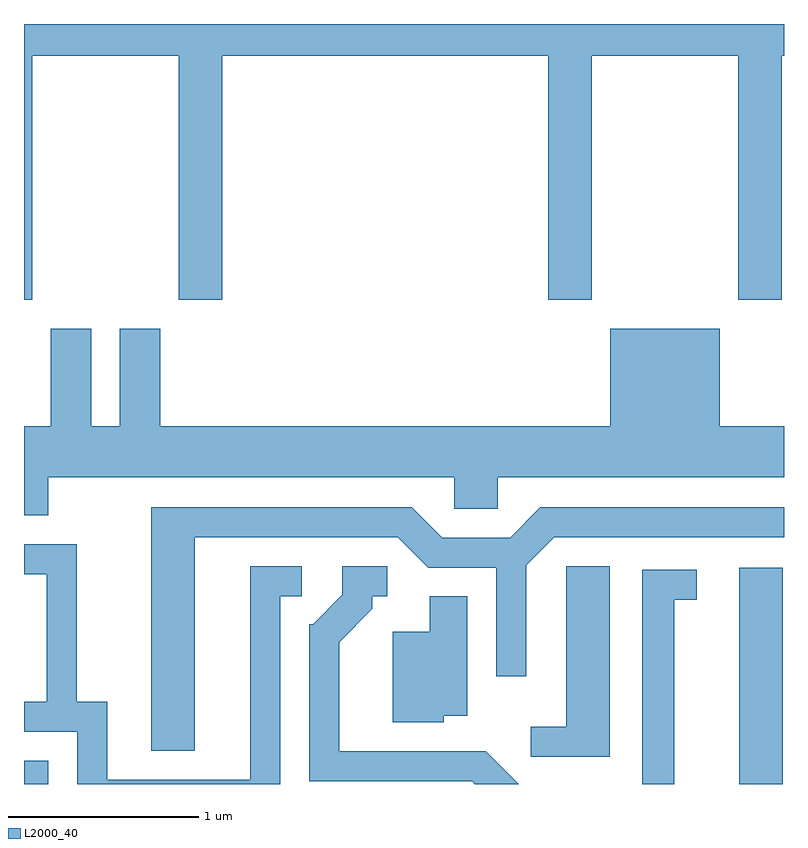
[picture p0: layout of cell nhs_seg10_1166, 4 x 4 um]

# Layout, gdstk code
import gdstk
lib = gdstk.Library(unit=1e-6, precision=1e-09)
def R(c, l, rs):  # rectangles x0, y0, x1, y1
    for r in rs: c.add(gdstk.rectangle(r[:2], r[2:], *l))
def P(c, l, *ps):  # polygons
    for p in ps: c.add(gdstk.Polygon(p, *l))
L2000_40 = (2000, 40)

nhs_seg10_1166 = lib.new_cell('nhs_seg10_1166')
R(nhs_seg10_1166, L2000_40, [(219.611,2114.522,219.739,2114.644), (223.376,2114.522,223.604,2115.659)])
P(nhs_seg10_1166, L2000_40, [(219.654,2118.356),(220.426,2118.356),(220.426,2117.071),(220.654,2117.071),(220.654,2118.356),(222.371,2118.356),(222.371,2117.071),(222.599,2117.071),(222.599,2118.356),(223.371,2118.356),(223.371,2117.071),(223.599,2117.071),(223.599,2118.356),(223.611,2118.356),(223.611,2118.522),(219.611,2118.522),(219.611,2117.071),(219.654,2117.071)],
  [(219.739,2116.136),(221.876,2116.136),(221.876,2115.971),(222.104,2115.971),(222.104,2116.136),(223.611,2116.136),(223.611,2116.404),(223.274,2116.404),(223.274,2116.919),(222.696,2116.919),(222.696,2116.404),(220.329,2116.404),(220.329,2116.919),(220.116,2116.919),(220.116,2116.404),(219.964,2116.404),(219.964,2116.919),(219.751,2116.919),(219.751,2116.404),(219.611,2116.404),(219.611,2115.936),(219.739,2115.936)],
  [(220.509,2115.821),(221.579,2115.821),(221.739,2115.661),(222.096,2115.661),(222.096,2115.088),(222.254,2115.088),(222.254,2115.674),(222.402,2115.821),(223.611,2115.821),(223.611,2115.979),(222.329,2115.979),(222.169,2115.819),(221.812,2115.819),(221.652,2115.979),(220.281,2115.979),(220.281,2114.696),(220.509,2114.696)],
  [(220.959,2115.511),(221.073,2115.511),(221.073,2115.669),(220.801,2115.669),(220.801,2114.544),(220.049,2114.544),(220.049,2114.954),(219.889,2114.954),(219.889,2115.784),(219.611,2115.784),(219.611,2115.626),(219.731,2115.626),(219.731,2114.954),(219.611,2114.954),(219.611,2114.796),(219.891,2114.796),(219.891,2114.522),(220.959,2114.522)],
  [(222.694,2115.669),(222.466,2115.669),(222.466,2114.824),(222.278,2114.824),(222.278,2114.666),(222.694,2114.666)],
  [(222.042,2114.694),(221.269,2114.694),(221.269,2115.269),(221.444,2115.444),(221.444,2115.511),(221.523,2115.511),(221.523,2115.669),(221.286,2115.669),(221.286,2115.517),(221.134,2115.364),(221.111,2115.364),(221.111,2114.536),(221.969,2114.536),(221.983,2114.522),(222.214,2114.522)],
  [(223.034,2115.491),(223.153,2115.491),(223.153,2115.649),(222.866,2115.649),(222.866,2114.522),(223.034,2114.522)],
  [(221.819,2114.881),(221.944,2114.881),(221.944,2115.509),(221.746,2115.509),(221.746,2115.324),(221.551,2115.324),(221.551,2114.846),(221.819,2114.846)])

lib.write_gds('nhs_seg10_1166.gds')
